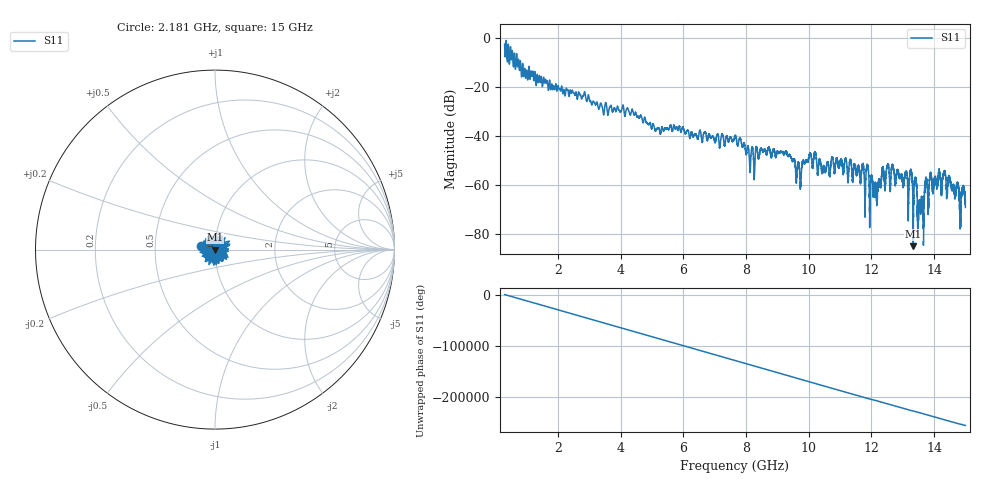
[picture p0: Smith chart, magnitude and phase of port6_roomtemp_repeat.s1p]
# GHZ S RI R 50.0
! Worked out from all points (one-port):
!   12801 points, 300 MHz to 15 GHz, reference 50 ohm
!   lowest |S11| = -85.1 dB at 13.34 GHz (marker M1), VSWR 1.00, Z = 50 + j0.00475 ohm
!   |S11| at or under -10 dB: 628.1 MHz to 667.2 MHz (39.18 MHz wide, 6.05 % of centre); 749.2 MHz to 796.8 MHz (47.68 MHz wide, 6.17 % of centre); 808.5 MHz to end of sweep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
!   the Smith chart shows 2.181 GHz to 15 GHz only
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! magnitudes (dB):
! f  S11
! 300 MHz  -2.6
! 971.8 MHz  -16.5
! 2.138 GHz  -21.3
! 3.975 GHz  -30.1
! 5.218 GHz  -36.7
! 5.812 GHz  -37.5
! 7.65 GHz  -40.0
! 8.2 GHz  -44.9
! 8.532 GHz  -46.3
! 9.488 GHz  -50.4
! 9.679 GHz  -51.2
! 10.03 GHz  -47.4
! 10.48 GHz  -52.6
! 10.94 GHz  -51.7
! 11.32 GHz  -50.3
! 11.7 GHz  -53.0
! 12.13 GHz  -59.2
! 12.52 GHz  -51.9
! 13.16 GHz  -62.9
! 13.34 GHz  -85.1
! 13.54 GHz  -68.9
! 13.62 GHz  -68.4
! 13.74 GHz  -58.1
! 13.91 GHz  -56.3
! 14.32 GHz  -55.7
! 14.83 GHz  -73.3
! 14.93 GHz  -61.5
! 15 GHz  -69.3
